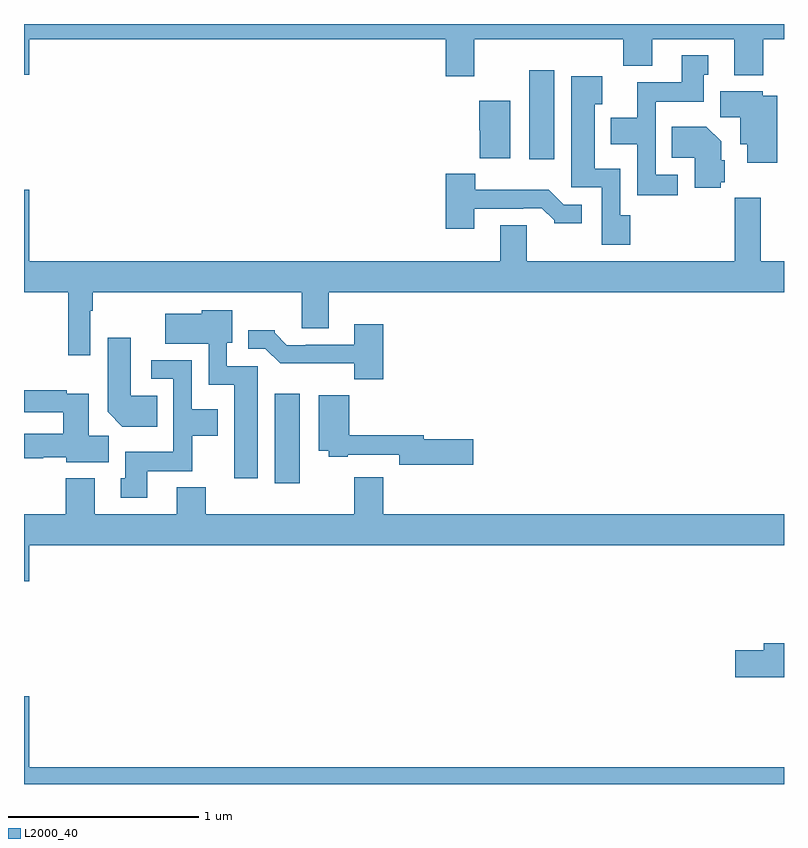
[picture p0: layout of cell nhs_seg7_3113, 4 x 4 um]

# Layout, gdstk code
import gdstk
lib = gdstk.Library(unit=1e-6, precision=1e-09)
def R(c, l, rs):  # rectangles x0, y0, x1, y1
    for r in rs: c.add(gdstk.rectangle(r[:2], r[2:], *l))
def P(c, l, *ps):  # polygons
    for p in ps: c.add(gdstk.Polygon(p, *l))
L2000_40 = (2000, 40)

nhs_seg7_3113 = lib.new_cell('nhs_seg7_3113')
R(nhs_seg7_3113, L2000_40, [(310.319,1027.584,310.45,1028.053), (311.66,1029.288,311.791,1029.757)])
P(nhs_seg7_3113, L2000_40, [(311.371,1029.92),(312.155,1029.92),(312.155,1029.779),(312.307,1029.779),(312.307,1029.92),(312.737,1029.92),(312.737,1029.731),(312.89,1029.731),(312.89,1029.92),(313,1029.92),(313,1030),(309,1030),(309,1029.732),(309.028,1029.732),(309.028,1029.92),(311.219,1029.92),(311.219,1029.726),(311.371,1029.726)],
  [(312.442,1029.207),(312.324,1029.207),(312.324,1029.59),(312.577,1029.59),(312.577,1029.732),(312.601,1029.732),(312.601,1029.835),(312.461,1029.835),(312.461,1029.694),(312.227,1029.694),(312.227,1029.507),(312.089,1029.507),(312.089,1029.368),(312.228,1029.368),(312.228,1029.099),(312.442,1029.099)],
  [(312.191,1028.994),(312.138,1028.994),(312.138,1029.238),(312.004,1029.238),(312.004,1029.578),(312.043,1029.578),(312.043,1029.724),(311.879,1029.724),(311.879,1029.141),(312.042,1029.141),(312.042,1028.838),(312.191,1028.838)],
  [(312.964,1029.622),(312.888,1029.622),(312.888,1029.646),(312.665,1029.646),(312.665,1029.508),(312.77,1029.508),(312.77,1029.368),(312.806,1029.368),(312.806,1029.27),(312.964,1029.27)],
  [(311.56,1029.595),(311.396,1029.595),(311.396,1029.441),(311.398,1029.441),(311.398,1029.293),(311.56,1029.293)],
  [(312.666,1029.168),(312.688,1029.168),(312.688,1029.282),(312.67,1029.282),(312.67,1029.382),(312.592,1029.46),(312.409,1029.46),(312.409,1029.296),(312.53,1029.296),(312.53,1029.139),(312.666,1029.139)],
  [(311.371,1029.027),(311.627,1029.027),(311.627,1029.03),(311.726,1029.03),(311.79,1028.966),(311.79,1028.951),(311.935,1028.951),(311.935,1029.048),(311.841,1029.048),(311.763,1029.127),(311.374,1029.127),(311.374,1029.211),(311.219,1029.211),(311.219,1028.922),(311.371,1028.922)],
  [(309.348,1028.492),(309.361,1028.492),(309.361,1028.588),(310.463,1028.588),(310.463,1028.398),(310.603,1028.398),(310.603,1028.588),(313,1028.588),(313,1028.752),(312.878,1028.752),(312.878,1029.085),(312.742,1029.085),(312.742,1028.752),(311.647,1028.752),(311.647,1028.942),(311.507,1028.942),(311.507,1028.752),(309.028,1028.752),(309.028,1029.127),(309,1029.127),(309,1028.588),(309.232,1028.588),(309.232,1028.256),(309.348,1028.256)],
  [(310.231,1028.199),(310.068,1028.199),(310.068,1028.322),(310.096,1028.322),(310.096,1028.494),(309.936,1028.494),(309.936,1028.476),(309.744,1028.476),(309.744,1028.318),(309.972,1028.318),(309.972,1028.102),(310.106,1028.102),(310.106,1027.608),(310.231,1027.608)],
  [(310.892,1028.419),(310.739,1028.419),(310.739,1028.313),(310.483,1028.313),(310.483,1028.31),(310.384,1028.31),(310.32,1028.374),(310.32,1028.389),(310.181,1028.389),(310.181,1028.292),(310.269,1028.292),(310.348,1028.214),(310.737,1028.214),(310.737,1028.129),(310.892,1028.129)],
  [(309.701,1028.044),(309.562,1028.044),(309.562,1028.35),(309.44,1028.35),(309.44,1027.958),(309.518,1027.88),(309.701,1027.88)],
  [(309.649,1027.646),(309.885,1027.646),(309.885,1027.832),(310.021,1027.832),(310.021,1027.972),(309.882,1027.972),(309.882,1028.229),(309.669,1028.229),(309.669,1028.133),(309.786,1028.133),(309.786,1027.75),(309.533,1027.75),(309.533,1027.608),(309.509,1027.608),(309.509,1027.506),(309.649,1027.506)],
  [(309.445,1027.832),(309.34,1027.832),(309.34,1028.054),(309.224,1028.054),(309.224,1028.072),(309,1028.072),(309,1027.956),(309.206,1027.956),(309.206,1027.843),(309,1027.843),(309,1027.714),(309.102,1027.714),(309.102,1027.721),(309.222,1027.721),(309.222,1027.694),(309.445,1027.694)],
  [(311.365,1027.814),(311.104,1027.814),(311.104,1027.835),(310.712,1027.835),(310.712,1028.047),(310.55,1028.047),(310.55,1027.754),(310.605,1027.754),(310.605,1027.722),(310.705,1027.722),(310.705,1027.734),(310.976,1027.734),(310.976,1027.679),(311.365,1027.679)],
  [(309.028,1027.256),(313,1027.256),(313,1027.42),(310.892,1027.42),(310.892,1027.615),(310.739,1027.615),(310.739,1027.42),(309.956,1027.42),(309.956,1027.561),(309.803,1027.561),(309.803,1027.42),(309.373,1027.42),(309.373,1027.609),(309.221,1027.609),(309.221,1027.42),(309,1027.42),(309,1027.068),(309.028,1027.068)],
  [(313,1026.74),(312.893,1026.74),(312.893,1026.704),(312.744,1026.704),(312.744,1026.562),(313,1026.562)],
  [(313,1026.088),(309.028,1026.088),(309.028,1026.463),(309,1026.463),(309,1026),(313,1026)])

lib.write_gds('nhs_seg7_3113.gds')
